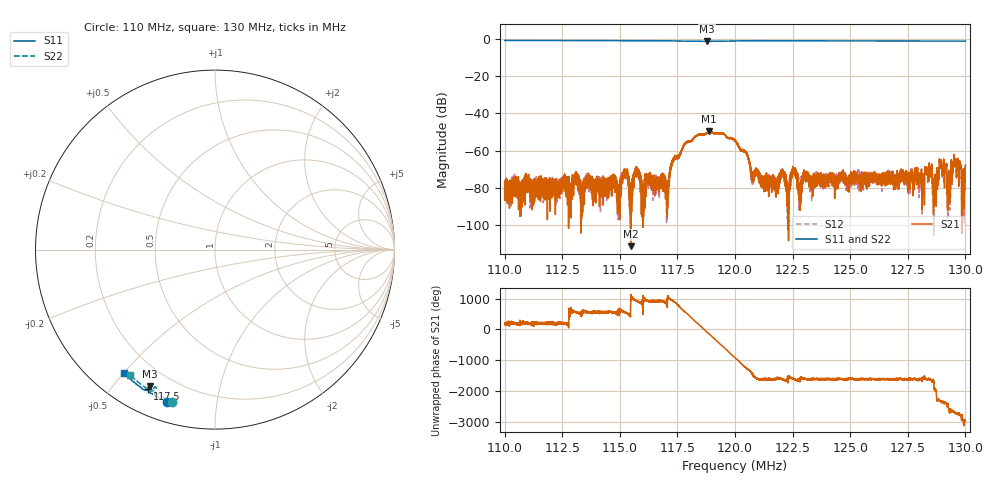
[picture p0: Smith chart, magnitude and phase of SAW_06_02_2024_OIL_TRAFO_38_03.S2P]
!Agilent Technologies,E5071C,MY46520923,B.12.03
!Date: Tue Feb 06 09:44:56 2024
!Data & Calibration Information:
!Freq	S11:SOLT2(ON)	S21:SOLT2(ON)	S12:SOLT2(ON)	S22:SOLT2(ON)
!PortZ  Port1:50+j0  Port2:50+j0
!Above PortZ is port z conversion or system Z0 setting when saving the data.
!When reading, reference impedance value at option line is always used.
# Hz S dB R 50
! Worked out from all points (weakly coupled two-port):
!   10000 points, 110 MHz to 130 MHz, reference 50 ohm
!   highest |S21| = -49.70 dB at 118.9 MHz (marker M1); lowest = -111.2 dB at 115.5 MHz (marker M2)
!   lowest |S11| = -1.5 dB at 118.8 MHz (marker M3), VSWR 11.68, Z = 5.97 - j31.3 ohm
!   |S11| at or under -10 dB: nowhere
!   |S22| runs from -1.6 to -1.1 dB; largest |S21 - S12| = 0.00022
!   S11 on the Smith chart (normalised r, x): 110 MHz: 0.09, -0.73; 117.5 MHz: 0.10, -0.62; 130 MHz: 0.10, -0.50
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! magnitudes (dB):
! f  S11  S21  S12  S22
! 110 MHz  -1.0  -85.0  -77.0  -1.1
! 113.3 MHz  -1.1  -90.1  -85.0  -1.2
! 114.9 MHz  -1.1  -82.2  -95.0  -1.2
! 115.2 MHz  -1.1  -71.6  -71.5  -1.2
! 115.5 MHz  -1.1  -111.2  -90.1  -1.2
! 115.7 MHz  -1.1  -74.3  -70.5  -1.2
! 116 MHz  -1.1  -83.1  -82.3  -1.2
! 116.7 MHz  -1.2  -77.4  -73.8  -1.3
! 117 MHz  -1.2  -89.7  -87.4  -1.3
! 117.5 MHz  -1.3  -63.7  -63.6  -1.4
! 118.8 MHz  -1.5  -50.5  -50.6  -1.6
! 118.9 MHz  -1.5  -49.7  -50.0  -1.6
! 120 MHz  -1.3  -54.5  -54.5  -1.4
! 121.2 MHz  -1.2  -75.4  -79.6  -1.2
! 122.1 MHz  -1.2  -71.1  -71.5  -1.3
! 122.3 MHz  -1.2  -81.4  -90.4  -1.3
! 122.6 MHz  -1.2  -69.6  -72.1  -1.3
! 122.8 MHz  -1.2  -87.6  -82.7  -1.3
! 123.3 MHz  -1.2  -75.6  -76.7  -1.3
! 126.7 MHz  -1.3  -73.5  -72.4  -1.4
! 128.7 MHz  -1.3  -74.7  -75.5  -1.4
! 130 MHz  -1.4  -67.8  -67.2  -1.5
